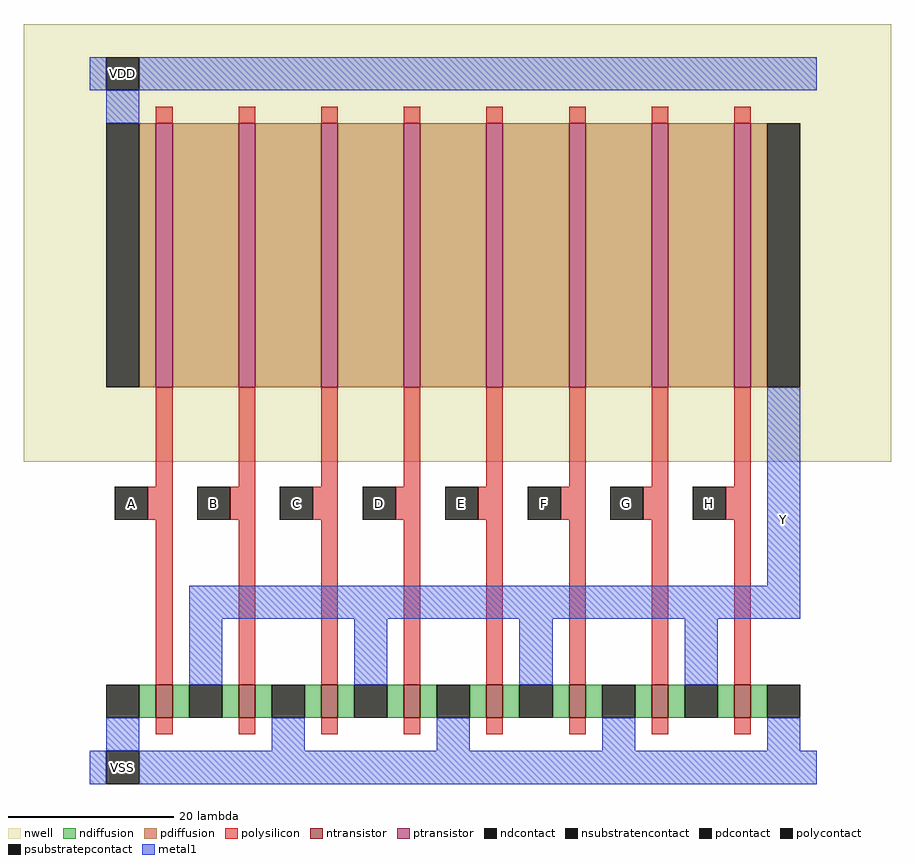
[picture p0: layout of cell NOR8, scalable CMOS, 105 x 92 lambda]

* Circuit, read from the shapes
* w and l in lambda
.subckt NOR8 A B C D E F G H VDD VSS Y
M1 Y A VSS VSS nfet w=4 l=2
M2 VSS B Y VSS nfet w=4 l=2
M3 Y C VSS VSS nfet w=4 l=2
M4 VSS D Y VSS nfet w=4 l=2
M5 Y E VSS VSS nfet w=4 l=2
M6 VSS F Y VSS nfet w=4 l=2
M7 Y G VSS VSS nfet w=4 l=2
M8 VSS H Y VSS nfet w=4 l=2
M9 n1 A VDD VDD pfet w=32 l=2
M10 n2 B n1 VDD pfet w=32 l=2
M11 n3 C n2 VDD pfet w=32 l=2
M12 n4 D n3 VDD pfet w=32 l=2
M13 n5 E n4 VDD pfet w=32 l=2
M14 n6 F n5 VDD pfet w=32 l=2
M15 n7 G n6 VDD pfet w=32 l=2
M16 Y H n7 VDD pfet w=32 l=2
.ends

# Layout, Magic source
magic
tech scmos
<< nwell >>
rect -8 39 97 92
<< ntransistor >>
rect 8 8 10 12
rect 18 8 20 12
rect 28 8 30 12
rect 38 8 40 12
rect 48 8 50 12
rect 58 8 60 12
rect 68 8 70 12
rect 78 8 80 12
<< ptransistor >>
rect 8 48 10 80
rect 18 48 20 80
rect 28 48 30 80
rect 38 48 40 80
rect 48 48 50 80
rect 58 48 60 80
rect 68 48 70 80
rect 78 48 80 80
<< ndiffusion >>
rect 6 8 8 12
rect 10 8 12 12
rect 16 8 18 12
rect 20 8 22 12
rect 26 8 28 12
rect 30 8 32 12
rect 36 8 38 12
rect 40 8 42 12
rect 46 8 48 12
rect 50 8 52 12
rect 56 8 58 12
rect 60 8 62 12
rect 66 8 68 12
rect 70 8 72 12
rect 76 8 78 12
rect 80 8 82 12
<< pdiffusion >>
rect 6 48 8 80
rect 10 48 18 80
rect 20 48 28 80
rect 30 48 38 80
rect 40 48 48 80
rect 50 48 58 80
rect 60 48 68 80
rect 70 48 78 80
rect 80 48 82 80
<< ndcontact >>
rect 2 8 6 12
rect 12 8 16 12
rect 22 8 26 12
rect 32 8 36 12
rect 42 8 46 12
rect 52 8 56 12
rect 62 8 66 12
rect 72 8 76 12
rect 82 8 86 12
<< pdcontact >>
rect 2 48 6 80
rect 82 48 86 80
<< psubstratepcontact >>
rect 2 0 6 4
<< nsubstratencontact >>
rect 2 84 6 88
<< polysilicon >>
rect 8 80 10 82
rect 18 80 20 82
rect 28 80 30 82
rect 38 80 40 82
rect 48 80 50 82
rect 58 80 60 82
rect 68 80 70 82
rect 78 80 80 82
rect 8 36 10 48
rect 18 36 20 48
rect 28 36 30 48
rect 38 36 40 48
rect 48 36 50 48
rect 58 36 60 48
rect 68 36 70 48
rect 78 36 80 48
rect 7 32 10 36
rect 17 32 20 36
rect 27 32 30 36
rect 37 32 40 36
rect 47 32 50 36
rect 57 32 60 36
rect 67 32 70 36
rect 77 32 80 36
rect 8 12 10 32
rect 18 12 20 32
rect 28 12 30 32
rect 38 12 40 32
rect 48 12 50 32
rect 58 12 60 32
rect 68 12 70 32
rect 78 12 80 32
rect 8 6 10 8
rect 18 6 20 8
rect 28 6 30 8
rect 38 6 40 8
rect 48 6 50 8
rect 58 6 60 8
rect 68 6 70 8
rect 78 6 80 8
<< polycontact >>
rect 3 32 7 36
rect 13 32 17 36
rect 23 32 27 36
rect 33 32 37 36
rect 43 32 47 36
rect 53 32 57 36
rect 63 32 67 36
rect 73 32 77 36
<< metal1 >>
rect 0 84 2 88
rect 6 84 88 88
rect 2 80 6 84
rect 82 24 86 48
rect 12 20 86 24
rect 12 12 16 20
rect 32 12 36 20
rect 52 12 56 20
rect 72 12 76 20
rect 2 4 6 8
rect 22 4 26 8
rect 42 4 46 8
rect 62 4 66 8
rect 82 4 86 8
rect 0 0 2 4
rect 6 0 88 4
<< labels >>
rlabel psubstratepcontact 4 2 4 2 1 VSS
rlabel nsubstratencontact 4 86 4 86 1 VDD
rlabel polycontact 5 34 5 34 1 A
rlabel polycontact 15 34 15 34 1 B
rlabel polycontact 25 34 25 34 1 C
rlabel polycontact 35 34 35 34 1 D
rlabel polycontact 45 34 45 34 1 E
rlabel polycontact 55 34 55 34 1 F
rlabel polycontact 65 34 65 34 1 G
rlabel polycontact 75 34 75 34 1 H
rlabel metal1 84 32 84 32 1 Y
<< end >>
